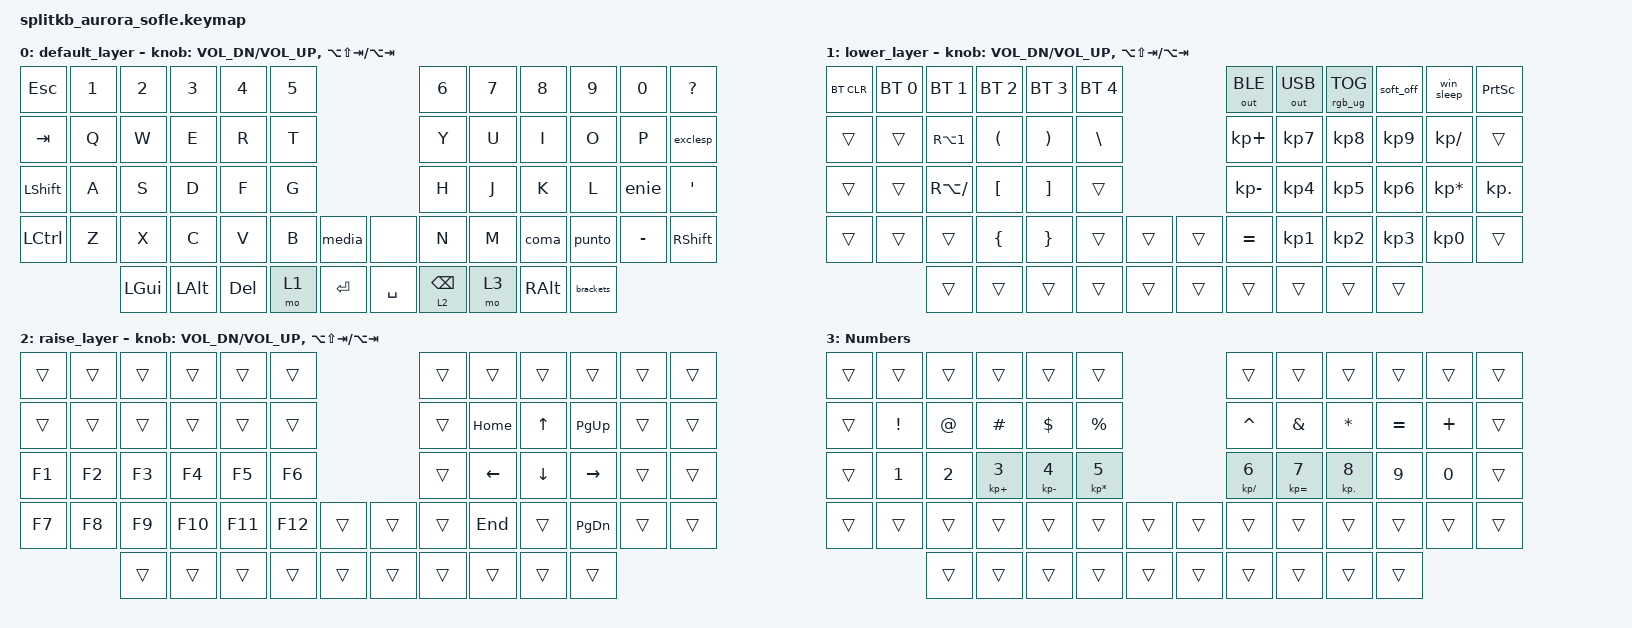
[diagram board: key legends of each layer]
/*
 * Copyright (c) 2023 The ZMK Contributors
 *
 * SPDX-License-Identifier: MIT
 */

#include <behaviors.dtsi>
#include <dt-bindings/zmk/bt.h>
#include <dt-bindings/zmk/keys.h>
#include <dt-bindings/zmk/outputs.h>
#include <dt-bindings/zmk/rgb.h>

&nice_view_spi { cs-gpios = <&pro_micro 0 GPIO_ACTIVE_HIGH>; };

&led_strip {
    chain-length = <6>; // Uncomment if using both per-key and underglow LEDs
};

/ {
    behaviors {
        media: media {
            compatible = "zmk,behavior-tap-dance";
            #binding-cells = <0>;
            bindings = <&kp C_PLAY_PAUSE>, <&kp C_NEXT>, <&kp C_PREVIOUS>;

            tapping-term-ms = <400>;
        };

        hm: homerow-mods {
            compatible = "zmk,behavior-hold-tap";
            label = "homehow-mods";
            #binding-cells = <2>;
            tapping-term-ms = <175>;
            flavor = "tap-preferred";
            quick-tap-ms = <125>;
            global-quick-tap;
            bindings = <&kp>, <&kp>;
        };

        tm: thumb_mod {
            compatible = "zmk,behavior-hold-tap";
            label = "Thumb_mods";
            #binding-cells = <2>;
            tapping-term-ms = <175>;
            flavor = "tap-preferred";
            quick-tap-ms = <125>;
            global-quick-tap;
            bindings = <&mo>, <&kp>;
        };

        weak: weak {
            compatible = "zmk,behavior-hold-tap";
            label = "WEAK";
            bindings = <&kp>, <&kp>;

            #binding-cells = <2>;
            tapping-term-ms = <230>;
            flavor = "tap-preferred";
            require-prior-idle-ms = <125>;
            quick-tap-ms = <230>;
        };

        tmb_lyr1: tmb_lyr1 {
            compatible = "zmk,behavior-mod-morph";
            label = "TMB_LYR1";
            bindings = <&mo 1>, <&kp DELETE>;

            #binding-cells = <0>;
            mods = <(MOD_LSFT|MOD_RSFT)>;
        };

        tmb_lyr2: tmb_lyr2 {
            compatible = "zmk,behavior-mod-morph";
            label = "TMB_LYR2";
            bindings = <&mo 2>, <&kp BACKSPACE>;

            #binding-cells = <0>;
            mods = <(MOD_LSFT|MOD_RSFT)>;
        };

        brackets: brackets {
            compatible = "zmk,behavior-mod-morph";
            label = "BRACKETS";
            bindings = <&kp LESS_THAN>, <&kp GREATER_THAN>;

            #binding-cells = <0>;
            mods = <(MOD_LSFT|MOD_RSFT)>;
        };

        punto: punto {
            compatible = "zmk,behavior-mod-morph";
            label = "PUNTO";
            bindings = <&kp PERIOD>, <&kp COLON>;

            #binding-cells = <0>;
            mods = <(MOD_LSFT|MOD_RSFT)>;
        };

        coma: coma {
            compatible = "zmk,behavior-mod-morph";
            label = "COMA";
            bindings = <&kp COMMA>, <&kp SEMICOLON>;

            #binding-cells = <0>;
            mods = <(MOD_LSFT|MOD_RSFT)>;
        };

        exclesp: exclesp {
            compatible = "zmk,behavior-mod-morph";
            label = "EXCLESP";
            bindings = <&kp EQUAL>, <&kp RS(EQUAL)>;

            #binding-cells = <0>;
            mods = <(MOD_LSFT|MOD_RSFT)>;
        };
    };

    combos {
        compatible = "zmk,combos";

        caps_combo {
            bindings = <&kp CAPSLOCK>;
            key-positions = <28 31>;
            layers = <0>;
            timeout-ms = <100>;
        };

        /*a_tilde {
            bindings = <&kp RA(A)>;
            key-positions = <28 25>;
            timeout-ms = <100>;
        };

        enie {
            bindings = <&kp RA(N)>;
            key-positions = <28 44>;
            timeout-ms = <100>;
        };

        a_tilde_2 {
            bindings = <&kp RA(A)>;
            key-positions = <31 25>;
            timeout-ms = <100>;
        };

        enie_2 {
            bindings = <&kp RA(N)>;
            key-positions = <44 31>;
            timeout-ms = <100>;
        };

        e_tilde {
            bindings = <&kp RA(E)>;
            key-positions = <28 15>;
            timeout-ms = <100>;
        };

        e_tilde_2 {
            bindings = <&kp RA(E)>;
            key-positions = <15 31>;
            timeout-ms = <100>;
        };

        u_tilde {
            bindings = <&kp RA(U)>;
            key-positions = <28 19>;
            timeout-ms = <100>;
        };

        u_tilde_2 {
            bindings = <&kp RA(U)>;
            key-positions = <19 31>;
            timeout-ms = <100>;
        };

        i_tilde {
            bindings = <&kp RA(I)>;
            key-positions = <28 20>;
            timeout-ms = <100>;
        };

        i_tilde_2 {
            bindings = <&kp RA(I)>;
            key-positions = <20 31>;
            timeout-ms = <100>;
        };

        o_tilde {
            bindings = <&kp RA(O)>;
            key-positions = <28 21>;
            timeout-ms = <100>;
        };

        o_tilde_2 {
            bindings = <&kp RA(O)>;
            key-positions = <21 31>;
            timeout-ms = <100>;
        };*/
    };

    macros {
        color_lyr1: color_lyr1 {
            compatible = "zmk,behavior-macro";
            #binding-cells = <0>;
            bindings =
                <&macro_press>,
                <&mo 1>,
                <&macro_tap>,
                <&rgb_ug RGB_COLOR_HSB(102,94,70)>,
                <&macro_pause_for_release>,
                <&macro_release>,
                <&mo 1>,
                <&macro_tap>,
                <&rgb_ug RGB_COLOR_HSB(172,28,95)>;

            label = "COLOR_LYR1";
            wait-ms = <0>;
            tap-ms = <0>;
        };

        color_lyr2: color_lyr2 {
            compatible = "zmk,behavior-macro";
            #binding-cells = <0>;
            bindings =
                <&macro_press>,
                <&mo 2>,
                <&macro_tap>,
                <&rgb_ug RGB_COLOR_HSB(276,94,78)>,
                <&macro_pause_for_release>,
                <&macro_release>,
                <&mo 2>,
                <&macro_tap>,
                <&rgb_ug RGB_COLOR_HSB(172,28,95)>;

            label = "COLOR_LYR2";
            wait-ms = <0>;
            tap-ms = <0>;
        };

        // Windows sleep key

        win_sleep: win_sleep {
            wait-ms = <50>;
            tap-ms = <5>;
            compatible = "zmk,behavior-macro";
            label = "WIN_SLEEP_KEY";
            #binding-cells = <0>;
            bindings = <&kp LG(X) &kp U &kp S>;
        };

        enie: enie {
            compatible = "zmk,behavior-macro";
            #binding-cells = <0>;
            bindings = <&kp TILDE &kp N>;
            label = "ENIE";
        };
    };

    keymap {
        compatible = "zmk,keymap";

        default_layer {
            // ------------------------------------------------------------------------------------------------------------
            // |  ESC  |  1  |  2  |  3   |  4   |  5   |                   |  6   |  7    |  8    |  9   |   0   |   `   |
            // |  TAB  |  Q  |  W  |  E   |  R   |  T   |                   |  Y   |  U    |  I    |  O   |   P   |   -   |
            // |  CTRL |  A  |  S  |  D   |  F   |  G   |                   |  H   |  J    |  K    |  L   |   ;   |   '   |
            // | SHIFT |  Z  |  X  |  C   |  V   |  B   |   "["  |  |  "]"  |  N   |  M    |  ,    |  .   |   /   | SHIFT |
            //               |CTRL | ALT  | GUI  | LOWER|  SPACE |  | ENTER | RAISE| BSPC  | GUI   | RALT |

            bindings = <
&kp ESC           &kp N1  &kp N2        &kp N3    &kp N4      &kp N5                           &kp N6           &kp N7  &kp N8         &kp N9     &kp N0     &kp QUESTION
&kp TAB           &kp Q   &kp W         &kp E     &kp R       &kp T                            &kp Y            &kp U   &kp I          &kp O      &kp P      &exclesp
&kp LEFT_SHIFT    &kp A   &kp S         &kp D     &kp F       &kp G                            &kp H            &kp J   &kp K          &kp L      &enie      &kp SQT
&kp LEFT_CONTROL  &kp Z   &kp X         &kp C     &kp V       &kp B   &media        &none      &kp N            &kp M   &coma          &punto     &kp MINUS  &kp RSHFT
                          &kp LEFT_GUI  &kp LALT  &kp DELETE  &mo 1   &kp RETURN    &kp SPACE  &lt 2 BACKSPACE  &mo 3   &kp RIGHT_ALT  &brackets
            >;

            sensor-bindings =
                <&inc_dec_kp C_VOL_DN C_VOL_UP>,
                <&inc_dec_kp LA(LS(TAB)) LA(TAB)>;
        };

        lower_layer {
            bindings = <
&bt BT_CLR  &bt BT_SEL 0  &bt BT_SEL 1      &bt BT_SEL 2          &bt BT_SEL 3           &bt BT_SEL 4                     &out OUT_BLE  &out OUT_USB     &rgb_ug RGB_TOG  &soft_off        &win_sleep       &kp PRINTSCREEN
&trans      &trans        &kp RA(NUMBER_1)  &kp LEFT_PARENTHESIS  &kp RIGHT_PARENTHESIS  &kp BACKSLASH                    &kp KP_PLUS   &kp KP_NUMBER_7  &kp KP_NUMBER_8  &kp KP_NUMBER_9  &kp KP_DIVIDE    &trans
&trans      &trans        &kp RA(SLASH)     &kp LEFT_BRACKET      &kp RIGHT_BRACKET      &trans                           &kp KP_MINUS  &kp KP_NUMBER_4  &kp KP_NUMBER_5  &kp KP_NUMBER_6  &kp KP_MULTIPLY  &kp KP_DOT
&trans      &trans        &trans            &kp LEFT_BRACE        &kp RIGHT_BRACE        &trans         &trans    &trans  &kp EQUAL     &kp KP_NUMBER_1  &kp KP_NUMBER_2  &kp KP_NUMBER_3  &kp KP_NUMBER_0  &trans
                          &trans            &trans                &trans                 &trans         &trans    &trans  &trans        &trans           &trans           &trans
            >;

            sensor-bindings =
                <&inc_dec_kp C_VOL_DN C_VOL_UP>,
                <&inc_dec_kp LA(LS(TAB)) LA(TAB)>;
        };

        raise_layer {
            // ------------------------------------------------------------------------------------------------------------
            // |       |     |     |      |      |      |                   |      |       |       |      |       |       |
            // |   `   |  1  |  2  |  3   |  4   |  5   |                   |  6   |   7   |   8   |  9   |   0   |       |
            // |   F1  |  F2 |  F3 |  F4  |  F5  |  F6  |                   |      |   <-  |   v   |  ^   |  ->   |       |
            // |   F7  |  F8 |  F9 |  F10 |  F11 |  F12 |        |  |       |  +   |   -   |   =   |  [   |   ]   |   \   |
            //               |     |      |      |      |        |  |       |      |       |       |      |

            bindings = <
&trans  &trans  &trans  &trans   &trans   &trans                     &trans  &trans    &trans    &trans         &trans  &trans
&trans  &trans  &trans  &trans   &trans   &trans                     &trans  &kp HOME  &kp UP    &kp PAGE_UP    &trans  &trans
&kp F1  &kp F2  &kp F3  &kp F4   &kp F5   &kp F6                     &trans  &kp LEFT  &kp DOWN  &kp RIGHT      &trans  &trans
&kp F7  &kp F8  &kp F9  &kp F10  &kp F11  &kp F12  &trans    &trans  &trans  &kp END   &trans    &kp PAGE_DOWN  &trans  &trans
                &trans  &trans   &trans   &trans   &trans    &trans  &trans  &trans    &trans    &trans
            >;

            sensor-bindings =
                <&inc_dec_kp C_VOL_DN C_VOL_UP>,
                <&inc_dec_kp LA(LS(TAB)) LA(TAB)>;
        };

        Numbers {
            bindings = <
&trans  &trans           &trans        &trans                &trans                    &trans                                &trans                  &trans                 &trans               &trans     &trans        &trans
&trans  &kp EXCLAMATION  &kp AT_SIGN   &kp HASH              &kp DOLLAR                &kp PERCENT                           &kp CARET               &kp AMPERSAND          &kp ASTERISK         &kp EQUAL  &kp PLUS      &trans
&trans  &kp NUMBER_1     &kp NUMBER_2  &hm KP_PLUS NUMBER_3  &hm KP_SUBTRACT NUMBER_4  &hm KP_MULTIPLY N5                    &hm KP_DIVIDE NUMBER_6  &hm KP_EQUAL NUMBER_7  &hm KP_DOT NUMBER_8  &kp N9     &kp NUMBER_0  &trans
&trans  &trans           &trans        &trans                &trans                    &trans              &trans    &trans  &trans                  &trans                 &trans               &trans     &trans        &trans
                         &trans        &trans                &trans                    &trans              &trans    &trans  &trans                  &trans                 &trans               &trans
            >;
        };
    };

    conditional_layers {
        compatible = "zmk,conditional-layers";

        activate_numbers {
            if-layers = <1 2>;
            then-layer = <3>;
        };
    };
};
